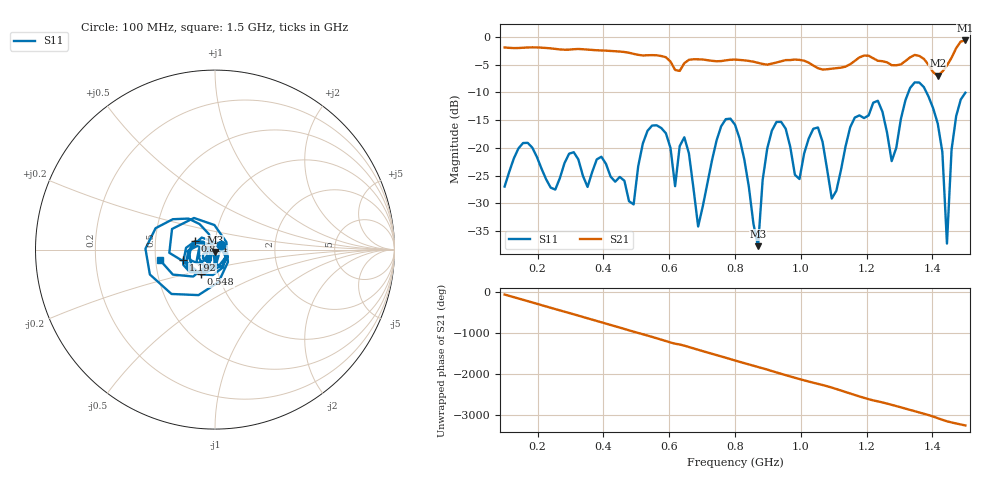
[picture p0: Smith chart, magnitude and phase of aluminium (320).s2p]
! NanoVNA-App
! Date: 2025-09-25 14:57:46
! Start: 100MHz Stop: 1,5GHz Points: 101
! S-Parameter data: F S11 S21 S12 S22
# Hz S RI R 50
!  Frequency  S11_Real  S11_Imag  S21_Real  S21_Imag  S12_Real  S12_Imag  S22_Real  S22_Imag
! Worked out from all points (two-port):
!   101 points, 100 MHz to 1.5 GHz, reference 50 ohm
!   highest |S21| = -0.66 dB at 1.5 GHz (marker M1); lowest = -7.0 dB at 1.416 GHz (marker M2)
!   |S21| within 3 dB of the highest: start of sweep to 588.6 MHz; 1.459 GHz to end of sweep (the widest 2 of 4)
!   lowest |S11| = -37.7 dB at 870 MHz (marker M3), VSWR 1.03, Z = 49.9 - j1.3 ohm
!   |S11| at or under -10 dB: start of sweep to 1.327 GHz; 1.382 GHz to end of sweep
!   S12 and S22 are empty: the file has one direction only
!   S11 on the Smith chart (normalised r, x): 100 MHz: 1.07, +0.06; 548 MHz: 0.82, -0.23; 814 MHz: 0.80, +0.07; 1.192 GHz: 0.70, -0.08; 1.5 GHz: 0.53, -0.06
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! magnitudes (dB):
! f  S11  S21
! 100 MHz  -27.0  -1.9
! 338 MHz  -25.0  -2.2
! 492 MHz  -30.2  -3.1
! 548 MHz  -16.0  -3.3
! 576 MHz  -16.4  -3.5
! 618 MHz  -26.9  -6.0
! 646 MHz  -18.1  -4.7
! 688 MHz  -34.2  -4.1
! 800 MHz  -15.8  -4.1
! 814 MHz  -18.3  -4.2
! 870 MHz  -37.7  -4.7
! 912 MHz  -16.9  -4.8
! 996 MHz  -25.6  -4.2
! 1.038 GHz  -16.6  -5.2
! 1.094 GHz  -29.1  -5.7
! 1.192 GHz  -14.6  -3.4
! 1.276 GHz  -22.4  -5.1
! 1.346 GHz  -8.2  -3.3
! 1.416 GHz  -15.6  -7.0
! 1.444 GHz  -37.2  -5.2
! 1.458 GHz  -20.3  -3.8
! 1.5 GHz  -10.1  -0.7
